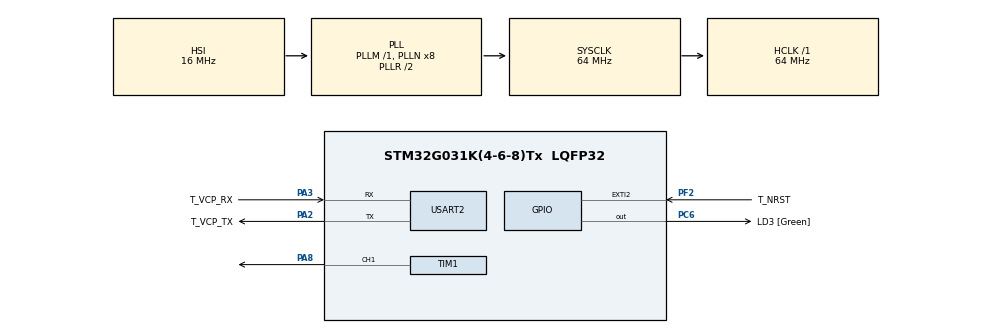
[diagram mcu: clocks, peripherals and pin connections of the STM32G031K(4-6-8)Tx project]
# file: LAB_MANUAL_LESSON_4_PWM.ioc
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Mcu.Family=STM32G0
Mcu.Name=STM32G031K(4-6-8)Tx
Mcu.Package=LQFP32
NVIC.TIM1_BRK_UP_TRG_COM_IRQn=true\:0\:0\:false\:false\:true\:true\:true
PA13.GPIO_Label=T_JTMS
PA13.Mode=Serial_Wire
PA13.Signal=SYS_SWDIO
PA14-BOOT0.GPIO_Label=T_JTCK
PA14-BOOT0.Mode=Serial_Wire
PA14-BOOT0.Signal=SYS_SWCLK
PA2.GPIO_Label=T_VCP_TX
PA2.Mode=Asynchronous
PA2.Signal=USART2_TX
PA3.GPIO_Label=T_VCP_RX
PA3.Mode=Asynchronous
PA3.Signal=USART2_RX
PA8.Signal=S_TIM1_CH1
PC14-OSC32_IN\ (PC14).Mode=LSE-External-Oscillator
PC14-OSC32_IN\ (PC14).Signal=RCC_OSC32_IN
PC15-OSC32_OUT\ (PC15).Mode=LSE-External-Oscillator
PC15-OSC32_OUT\ (PC15).Signal=RCC_OSC32_OUT
PC6.GPIO_Label=LD3 [Green]
PC6.Signal=GPIO_Output
PF2\ -\ NRST.GPIO_Label=T_NRST
PF2\ -\ NRST.Signal=GPXTI2
ProjectManager.HeapSize=0x200
ProjectManager.StackSize=0x400
ProjectManager.TargetToolchain=MDK-ARM V5
RCC.ADCFreq_Value=64000000
RCC.AHBFreq_Value=64000000
RCC.CortexFreq_Value=64000000
RCC.EXTERNAL_CLOCK_VALUE=12288000
RCC.HCLKFreq_Value=64000000
RCC.HSE_VALUE=8000000
RCC.HSI_VALUE=16000000
RCC.SYSCLKFreq_VALUE=64000000
RCC.SYSCLKSource=RCC_SYSCLKSOURCE_PLLCLK
RCC.VCOOutputFreq_Value=128000000
SH.S_TIM1_CH1.0=TIM1_CH1,PWM Generation1 CH1
TIM1.Channel-PWM\ Generation1\ CH1=TIM_CHANNEL_1
TIM1.Period=1000
TIM1.Prescaler=64000-1
TIM1.Pulse-PWM\ Generation1\ CH1=500
TIM1.RepetitionCounter=0
USART2.VirtualMode-Asynchronous=VM_ASYNC
USART2.WordLength=WORDLENGTH_8B
VP_TIM1_VS_ClockSourceINT.Mode=Internal
board=NUCLEO-G031K8

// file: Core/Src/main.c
/* USER CODE BEGIN Header */
/**
  ******************************************************************************
  * @file           : main.c
  * @brief          : Main program body
  ******************************************************************************
  * @attention
  *
  * <h2><center>&copy; Copyright (c) 2019 STMicroelectronics.
  * All rights reserved.</center></h2>
  *
  * This software component is licensed by ST under BSD 3-Clause license,
  * the "License"; You may not use this file except in compliance with the
  * License. You may obtain a copy of the License at:
  *                        opensource.org/licenses/BSD-3-Clause
  *
  ******************************************************************************
  */
/* USER CODE END Header */

#include "main.h"
#include "tim.h"
#include "usart.h"
#include "gpio.h"

/* USER CODE BEGIN PV */
extern TIM_HandleTypeDef htim1;
/* USER CODE END PV */

void SystemClock_Config(void);

/* USER CODE BEGIN 0 */
void HAL_Pwm_Set_Value(uint8_t Value);
/* USER CODE END 0 */

int main(void)
{
  /* USER CODE BEGIN 1 */
	uint16_t Count=0;
  /* USER CODE END 1 */

  /* MCU Configuration--------------------------------------------------------*/

  /* Reset of all peripherals, Initializes the Flash interface and the Systick. */
  HAL_Init();

  /* Configure the system clock */
  SystemClock_Config();

  /* Initialize all configured peripherals */
  MX_GPIO_Init();
  MX_TIM1_Init();
  MX_USART2_UART_Init();
  /* USER CODE BEGIN 2 */
	PRINTF("This is Test For PWM\r\n");
	HAL_TIM_Base_Start_IT(&htim1);
	HAL_TIM_PWM_Start_IT(&htim1,TIM_CHANNEL_1);
	HAL_Pwm_Set_Value(500);
  /* USER CODE END 2 */

  /* Infinite loop */
  while (1)
  {

  }
}

void SystemClock_Config(void)
{
  RCC_OscInitTypeDef RCC_OscInitStruct = {0};
  RCC_ClkInitTypeDef RCC_ClkInitStruct = {0};
  RCC_PeriphCLKInitTypeDef PeriphClkInit = {0};

  /** Configure the main internal regulator output voltage
  */
  HAL_PWREx_ControlVoltageScaling(PWR_REGULATOR_VOLTAGE_SCALE1);
  /** Initializes the CPU, AHB and APB busses clocks
  */
  RCC_OscInitStruct.OscillatorType = RCC_OSCILLATORTYPE_HSI;
  RCC_OscInitStruct.HSIState = RCC_HSI_ON;
  RCC_OscInitStruct.HSIDiv = RCC_HSI_DIV1;
  RCC_OscInitStruct.HSICalibrationValue = RCC_HSICALIBRATION_DEFAULT;
  RCC_OscInitStruct.PLL.PLLState = RCC_PLL_ON;
  RCC_OscInitStruct.PLL.PLLSource = RCC_PLLSOURCE_HSI;
  RCC_OscInitStruct.PLL.PLLM = RCC_PLLM_DIV1;
  RCC_OscInitStruct.PLL.PLLN = 8;
  RCC_OscInitStruct.PLL.PLLP = RCC_PLLP_DIV2;
  RCC_OscInitStruct.PLL.PLLQ = RCC_PLLQ_DIV2;
  RCC_OscInitStruct.PLL.PLLR = RCC_PLLR_DIV2;
  if (HAL_RCC_OscConfig(&RCC_OscInitStruct) != HAL_OK)
  {
    Error_Handler();
  }
  /** Initializes the CPU, AHB and APB busses clocks
  */
  RCC_ClkInitStruct.ClockType = RCC_CLOCKTYPE_HCLK|RCC_CLOCKTYPE_SYSCLK
                              |RCC_CLOCKTYPE_PCLK1;
  RCC_ClkInitStruct.SYSCLKSource = RCC_SYSCLKSOURCE_PLLCLK;
  RCC_ClkInitStruct.AHBCLKDivider = RCC_SYSCLK_DIV1;
  RCC_ClkInitStruct.APB1CLKDivider = RCC_HCLK_DIV1;

  if (HAL_RCC_ClockConfig(&RCC_ClkInitStruct, FLASH_LATENCY_2) != HAL_OK)
  {
    Error_Handler();
  }
  /** Initializes the peripherals clocks
  */
  PeriphClkInit.PeriphClockSelection = RCC_PERIPHCLK_TIM1;
  PeriphClkInit.Tim1ClockSelection = RCC_TIM1CLKSOURCE_PCLK1;
  if (HAL_RCCEx_PeriphCLKConfig(&PeriphClkInit) != HAL_OK)
  {
    Error_Handler();
  }
}

/* USER CODE BEGIN 4 */
void HAL_Pwm_Set_Value(uint8_t Value)
{
	TIM_OC_InitTypeDef sConfigOC;
	sConfigOC.Pulse = Value;
	sConfigOC.OCMode = TIM_OCMODE_PWM1;
  sConfigOC.OCPolarity = TIM_OCPOLARITY_HIGH;
  sConfigOC.OCNPolarity = TIM_OCNPOLARITY_HIGH;
  sConfigOC.OCFastMode = TIM_OCFAST_DISABLE;
  sConfigOC.OCIdleState = TIM_OCIDLESTATE_RESET;
  sConfigOC.OCNIdleState = TIM_OCNIDLESTATE_RESET;
	HAL_TIM_PWM_ConfigChannel(&htim1,&sConfigOC,TIM_CHANNEL_1);
  //***此处比较重要，修改Pluse的值之后，需要重新Start一下**//
	HAL_TIM_PWM_Start_IT(&htim1,TIM_CHANNEL_1);

}

void HAL_TIM_OC_DelayElapsedCallback(TIM_HandleTypeDef *htim)
{
	PRINTF("HAL_TIM_OC_DelayElapsedCallback\r\n");
}

void HAL_TIM_PWM_PulseFinishedCallback(TIM_HandleTypeDef *htim)
{
	PRINTF("HAL_TIM_PWM_PulseFinishedCallback\r\n");
}

void HAL_TIM_PeriodElapsedCallback(TIM_HandleTypeDef *htim)
{
	PRINTF("HAL_TIM_PeriodElapsedCallback\r\n");
}
/* USER CODE END 4 */

void Error_Handler(void)
{
}

/************************ (C) COPYRIGHT STMicroelectronics *****END OF FILE****/
